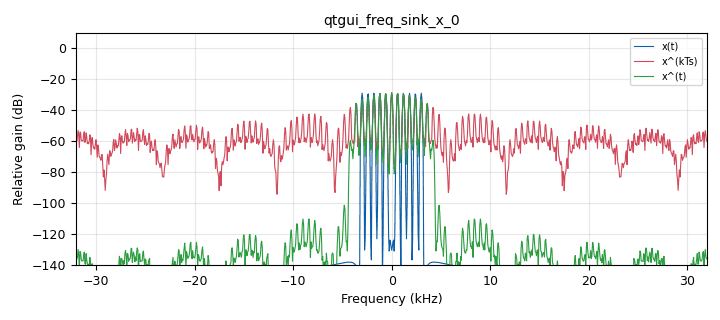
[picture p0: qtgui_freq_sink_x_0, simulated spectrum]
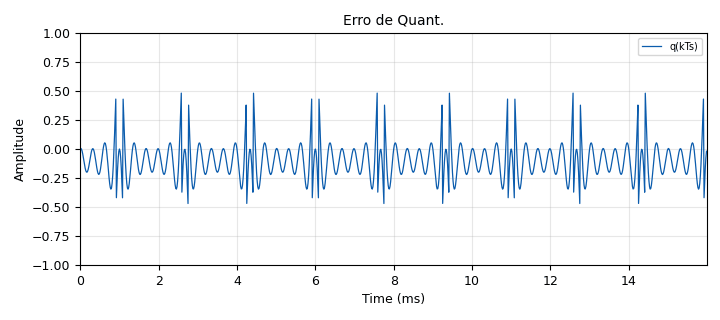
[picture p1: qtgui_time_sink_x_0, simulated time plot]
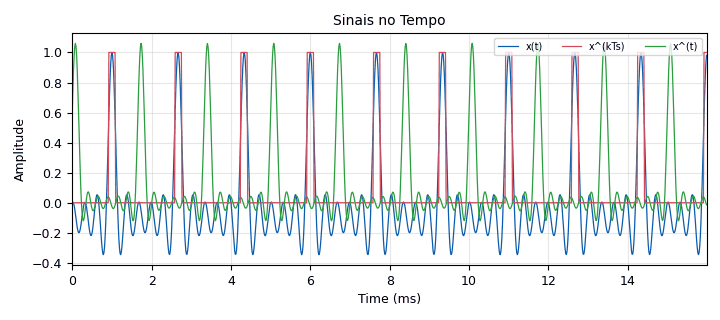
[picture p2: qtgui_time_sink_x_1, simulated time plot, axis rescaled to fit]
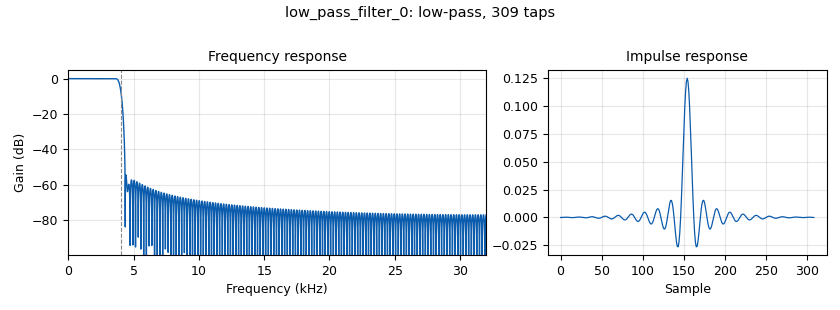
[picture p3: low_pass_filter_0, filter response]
<?xml version='1.0' encoding='utf-8'?>
<?grc format='1' created='3.7.9'?>
<flow_graph>
<block>
<key>options</key>
<param><key>id</key><value>top_block</value></param>
<param><key>category</key><value>Custom</value></param>
<param><key>generate_options</key><value>qt_gui</value></param>
</block>
<block>
<key>variable_qtgui_range</key>
<param><key>id</key><value>n</value></param>
<param><key>value</key><value>1</value></param>
<param><key>orient</key><value>Qt.Horizontal</value></param>
<param><key>start</key><value>1</value></param>
<param><key>step</key><value>1</value></param>
<param><key>stop</key><value>16</value></param>
</block>
<block>
<key>variable</key>
<param><key>id</key><value>samp_rate</value></param>
<param><key>value</key><value>64000</value></param>
</block>
<block>
<key>qtgui_tab_widget</key>
<param><key>id</key><value>aba</value></param>
<param><key>label0</key><value>Time</value></param>
<param><key>label1</key><value>Freq</value></param>
<param><key>label2</key><value>RSR</value></param>
<param><key>num_tabs</key><value>3</value></param>
</block>
<block>
<key>analog_sig_source_x</key>
<param><key>id</key><value>analog_sig_source_x_0</value></param>
<param><key>amp</key><value>0.2</value></param>
<param><key>freq</key><value>600</value></param>
<param><key>offset</key><value>0</value></param>
<param><key>type</key><value>float</value></param>
<param><key>samp_rate</key><value>samp_rate</value></param>
<param><key>waveform</key><value>analog.GR_COS_WAVE</value></param>
</block>
<block>
<key>analog_sig_source_x</key>
<param><key>id</key><value>analog_sig_source_x_0_0</value></param>
<param><key>amp</key><value>0.2</value></param>
<param><key>freq</key><value>1200</value></param>
<param><key>offset</key><value>0</value></param>
<param><key>type</key><value>float</value></param>
<param><key>samp_rate</key><value>samp_rate</value></param>
<param><key>waveform</key><value>analog.GR_COS_WAVE</value></param>
</block>
<block>
<key>analog_sig_source_x</key>
<param><key>id</key><value>analog_sig_source_x_0_1</value></param>
<param><key>amp</key><value>0.2</value></param>
<param><key>freq</key><value>1800</value></param>
<param><key>offset</key><value>0</value></param>
<param><key>type</key><value>float</value></param>
<param><key>samp_rate</key><value>samp_rate</value></param>
<param><key>waveform</key><value>analog.GR_COS_WAVE</value></param>
</block>
<block>
<key>analog_sig_source_x</key>
<param><key>id</key><value>analog_sig_source_x_0_1_0</value></param>
<param><key>amp</key><value>0.2</value></param>
<param><key>freq</key><value>2400</value></param>
<param><key>offset</key><value>0</value></param>
<param><key>type</key><value>float</value></param>
<param><key>samp_rate</key><value>samp_rate</value></param>
<param><key>waveform</key><value>analog.GR_COS_WAVE</value></param>
</block>
<block>
<key>analog_sig_source_x</key>
<param><key>id</key><value>analog_sig_source_x_0_1_1</value></param>
<param><key>amp</key><value>0.2</value></param>
<param><key>freq</key><value>3000</value></param>
<param><key>offset</key><value>0</value></param>
<param><key>type</key><value>float</value></param>
<param><key>samp_rate</key><value>samp_rate</value></param>
<param><key>waveform</key><value>analog.GR_COS_WAVE</value></param>
</block>
<block>
<key>blocks_add_xx</key>
<param><key>id</key><value>blocks_add_xx_0</value></param>
<param><key>type</key><value>float</value></param>
<param><key>num_inputs</key><value>5</value></param>
</block>
<block>
<key>blocks_divide_xx</key>
<param><key>id</key><value>blocks_divide_xx_0</value></param>
<param><key>type</key><value>float</value></param>
</block>
<block>
<key>blocks_nlog10_ff</key>
<param><key>id</key><value>blocks_nlog10_ff_0</value></param>
<param><key>k</key><value>0</value></param>
<param><key>n</key><value>20</value></param>
</block>
<block>
<key>blocks_rms_xx</key>
<param><key>id</key><value>blocks_rms_xx_0</value></param>
<param><key>alpha</key><value>0.0001</value></param>
<param><key>type</key><value>float</value></param>
</block>
<block>
<key>blocks_rms_xx</key>
<param><key>id</key><value>blocks_rms_xx_0_0</value></param>
<param><key>alpha</key><value>0.0001</value></param>
<param><key>type</key><value>float</value></param>
</block>
<block>
<key>blocks_sub_xx</key>
<param><key>id</key><value>blocks_sub_xx_0</value></param>
<param><key>type</key><value>float</value></param>
</block>
<block>
<key>blocks_throttle</key>
<param><key>id</key><value>blocks_throttle_0</value></param>
<param><key>samples_per_second</key><value>samp_rate</value></param>
<param><key>type</key><value>float</value></param>
</block>
<block>
<key>channels_quantizer</key>
<param><key>id</key><value>channels_quantizer_0</value></param>
<param><key>bits</key><value>n</value></param>
</block>
<block>
<key>low_pass_filter</key>
<param><key>id</key><value>low_pass_filter_0</value></param>
<param><key>cutoff_freq</key><value>4000</value></param>
<param><key>decim</key><value>1</value></param>
<param><key>type</key><value>fir_filter_fff</value></param>
<param><key>gain</key><value>1</value></param>
<param><key>samp_rate</key><value>samp_rate</value></param>
<param><key>width</key><value>500</value></param>
<param><key>win</key><value>firdes.WIN_HAMMING</value></param>
</block>
<block>
<key>qtgui_freq_sink_x</key>
<param><key>id</key><value>qtgui_freq_sink_x_0</value></param>
<param><key>bw</key><value>samp_rate</value></param>
<param><key>fc</key><value>0</value></param>
<param><key>ctrlpanel</key><value>True</value></param>
<param><key>fftsize</key><value>1024</value></param>
<param><key>gui_hint</key><value>aba@1</value></param>
<param><key>label1</key><value>x(t)</value></param>
<param><key>label2</key><value>x^(kTs)</value></param>
<param><key>label3</key><value>x^(t)</value></param>
<param><key>nconnections</key><value>3</value></param>
<param><key>showports</key><value>True</value></param>
<param><key>type</key><value>float</value></param>
<param><key>wintype</key><value>firdes.WIN_BLACKMAN_hARRIS</value></param>
</block>
<block>
<key>qtgui_number_sink</key>
<param><key>id</key><value>qtgui_number_sink_0</value></param>
<param><key>gui_hint</key><value>aba@2</value></param>
<param><key>graph_type</key><value>qtgui.NUM_GRAPH_HORIZ</value></param>
<param><key>type</key><value>float</value></param>
<param><key>label1</key><value>RSR_q</value></param>
<param><key>label2</key><value>Pot_x</value></param>
<param><key>max</key><value>100</value></param>
<param><key>name</key><value>"RSR da Quant."</value></param>
<param><key>nconnections</key><value>2</value></param>
</block>
<block>
<key>qtgui_time_sink_x</key>
<param><key>id</key><value>qtgui_time_sink_x_0</value></param>
<param><key>gui_hint</key><value>aba@2</value></param>
<param><key>color1</key><value>"blue"</value></param>
<param><key>label1</key><value>q(kTs)</value></param>
<param><key>name</key><value>"Erro de Quant."</value></param>
<param><key>size</key><value>1024</value></param>
<param><key>srate</key><value>samp_rate</value></param>
<param><key>type</key><value>float</value></param>
</block>
<block>
<key>qtgui_time_sink_x</key>
<param><key>id</key><value>qtgui_time_sink_x_1</value></param>
<param><key>ctrlpanel</key><value>True</value></param>
<param><key>gui_hint</key><value>aba@0</value></param>
<param><key>color1</key><value>"blue"</value></param>
<param><key>label1</key><value>x(t)</value></param>
<param><key>color2</key><value>"red"</value></param>
<param><key>label2</key><value>x^(kTs)</value></param>
<param><key>color3</key><value>"green"</value></param>
<param><key>label3</key><value>x^(t)</value></param>
<param><key>name</key><value>"Sinais no Tempo"</value></param>
<param><key>nconnections</key><value>3</value></param>
<param><key>size</key><value>1024</value></param>
<param><key>srate</key><value>samp_rate</value></param>
<param><key>type</key><value>float</value></param>
</block>
<block>
<key>virtual_sink</key>
<param><key>id</key><value>virtual_sink_0</value></param>
<param><key>stream_id</key><value>x(t)</value></param>
</block>
<block>
<key>virtual_sink</key>
<param><key>id</key><value>virtual_sink_0_0</value></param>
<param><key>stream_id</key><value>x^(kTs)</value></param>
</block>
<block>
<key>virtual_sink</key>
<param><key>id</key><value>virtual_sink_0_0_0</value></param>
<param><key>stream_id</key><value>x^(t)</value></param>
</block>
<block>
<key>virtual_source</key>
<param><key>id</key><value>virtual_source_0</value></param>
<param><key>stream_id</key><value>x(t)</value></param>
</block>
<block>
<key>virtual_source</key>
<param><key>id</key><value>virtual_source_0_0</value></param>
<param><key>stream_id</key><value>x(t)</value></param>
</block>
<block>
<key>virtual_source</key>
<param><key>id</key><value>virtual_source_0_0_0</value></param>
<param><key>stream_id</key><value>x^(kTs)</value></param>
</block>
<block>
<key>virtual_source</key>
<param><key>id</key><value>virtual_source_0_0_0_0</value></param>
<param><key>stream_id</key><value>x^(kTs)</value></param>
</block>
<block>
<key>virtual_source</key>
<param><key>id</key><value>virtual_source_0_0_1</value></param>
<param><key>stream_id</key><value>x^(t)</value></param>
</block>
<block>
<key>virtual_source</key>
<param><key>id</key><value>virtual_source_0_1</value></param>
<param><key>stream_id</key><value>x(t)</value></param>
</block>
<connection><source_block_id>analog_sig_source_x_0</source_block_id><sink_block_id>blocks_add_xx_0</sink_block_id><source_key>0</source_key><sink_key>0</sink_key></connection>
<connection><source_block_id>analog_sig_source_x_0_0</source_block_id><sink_block_id>blocks_add_xx_0</sink_block_id><source_key>0</source_key><sink_key>1</sink_key></connection>
<connection><source_block_id>analog_sig_source_x_0_1</source_block_id><sink_block_id>blocks_add_xx_0</sink_block_id><source_key>0</source_key><sink_key>2</sink_key></connection>
<connection><source_block_id>analog_sig_source_x_0_1_0</source_block_id><sink_block_id>blocks_add_xx_0</sink_block_id><source_key>0</source_key><sink_key>3</sink_key></connection>
<connection><source_block_id>analog_sig_source_x_0_1_1</source_block_id><sink_block_id>blocks_add_xx_0</sink_block_id><source_key>0</source_key><sink_key>4</sink_key></connection>
<connection><source_block_id>blocks_add_xx_0</source_block_id><sink_block_id>blocks_throttle_0</sink_block_id><source_key>0</source_key><sink_key>0</sink_key></connection>
<connection><source_block_id>blocks_add_xx_0</source_block_id><sink_block_id>virtual_sink_0</sink_block_id><source_key>0</source_key><sink_key>0</sink_key></connection>
<connection><source_block_id>blocks_divide_xx_0</source_block_id><sink_block_id>blocks_nlog10_ff_0</sink_block_id><source_key>0</source_key><sink_key>0</sink_key></connection>
<connection><source_block_id>blocks_nlog10_ff_0</source_block_id><sink_block_id>qtgui_number_sink_0</sink_block_id><source_key>0</source_key><sink_key>0</sink_key></connection>
<connection><source_block_id>blocks_rms_xx_0</source_block_id><sink_block_id>blocks_divide_xx_0</sink_block_id><source_key>0</source_key><sink_key>0</sink_key></connection>
<connection><source_block_id>blocks_rms_xx_0</source_block_id><sink_block_id>qtgui_number_sink_0</sink_block_id><source_key>0</source_key><sink_key>1</sink_key></connection>
<connection><source_block_id>blocks_rms_xx_0_0</source_block_id><sink_block_id>blocks_divide_xx_0</sink_block_id><source_key>0</source_key><sink_key>1</sink_key></connection>
<connection><source_block_id>blocks_sub_xx_0</source_block_id><sink_block_id>blocks_rms_xx_0_0</sink_block_id><source_key>0</source_key><sink_key>0</sink_key></connection>
<connection><source_block_id>blocks_sub_xx_0</source_block_id><sink_block_id>qtgui_time_sink_x_0</sink_block_id><source_key>0</source_key><sink_key>0</sink_key></connection>
<connection><source_block_id>blocks_throttle_0</source_block_id><sink_block_id>channels_quantizer_0</sink_block_id><source_key>0</source_key><sink_key>0</sink_key></connection>
<connection><source_block_id>channels_quantizer_0</source_block_id><sink_block_id>low_pass_filter_0</sink_block_id><source_key>0</source_key><sink_key>0</sink_key></connection>
<connection><source_block_id>channels_quantizer_0</source_block_id><sink_block_id>virtual_sink_0_0</sink_block_id><source_key>0</source_key><sink_key>0</sink_key></connection>
<connection><source_block_id>low_pass_filter_0</source_block_id><sink_block_id>virtual_sink_0_0_0</sink_block_id><source_key>0</source_key><sink_key>0</sink_key></connection>
<connection><source_block_id>virtual_source_0</source_block_id><sink_block_id>blocks_rms_xx_0</sink_block_id><source_key>0</source_key><sink_key>0</sink_key></connection>
<connection><source_block_id>virtual_source_0_0</source_block_id><sink_block_id>blocks_sub_xx_0</sink_block_id><source_key>0</source_key><sink_key>0</sink_key></connection>
<connection><source_block_id>virtual_source_0_0_0</source_block_id><sink_block_id>blocks_sub_xx_0</sink_block_id><source_key>0</source_key><sink_key>1</sink_key></connection>
<connection><source_block_id>virtual_source_0_0_0_0</source_block_id><sink_block_id>qtgui_freq_sink_x_0</sink_block_id><source_key>0</source_key><sink_key>1</sink_key></connection>
<connection><source_block_id>virtual_source_0_0_0_0</source_block_id><sink_block_id>qtgui_time_sink_x_1</sink_block_id><source_key>0</source_key><sink_key>1</sink_key></connection>
<connection><source_block_id>virtual_source_0_0_1</source_block_id><sink_block_id>qtgui_freq_sink_x_0</sink_block_id><source_key>0</source_key><sink_key>2</sink_key></connection>
<connection><source_block_id>virtual_source_0_0_1</source_block_id><sink_block_id>qtgui_time_sink_x_1</sink_block_id><source_key>0</source_key><sink_key>2</sink_key></connection>
<connection><source_block_id>virtual_source_0_1</source_block_id><sink_block_id>qtgui_freq_sink_x_0</sink_block_id><source_key>0</source_key><sink_key>0</sink_key></connection>
<connection><source_block_id>virtual_source_0_1</source_block_id><sink_block_id>qtgui_time_sink_x_1</sink_block_id><source_key>0</source_key><sink_key>0</sink_key></connection>
</flow_graph>
